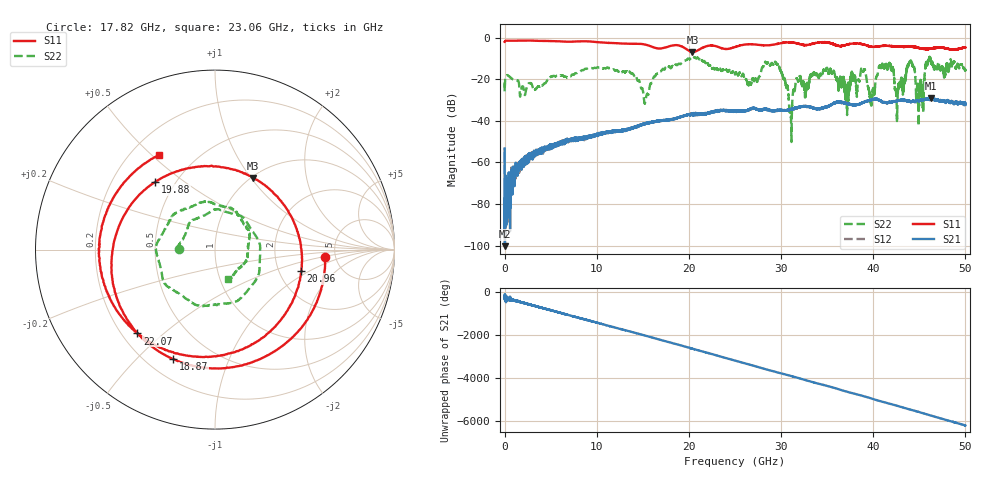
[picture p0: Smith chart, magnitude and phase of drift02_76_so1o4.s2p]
!Created with skrf (http://scikit-rf.org).
# Hz S RI R 50.0
!freq ReS11 ImS11 ReS21 ImS21 ReS12 ImS12 ReS22 ImS22
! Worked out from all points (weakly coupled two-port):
!   10001 points, 300 kHz to 50 GHz, reference 50 ohm
!   highest |S21| = -29.03 dB at 46.23 GHz (marker M1); lowest = -100.2 dB at 35.3 MHz (marker M2)
!   lowest |S11| = -6.9 dB at 20.38 GHz (marker M3), VSWR 2.64, Z = 51 + j51 ohm
!   |S11| at or under -10 dB: nowhere
!   |S22| runs from -50.2 to -9.2 dB; largest |S21 - S12| = 0.0033
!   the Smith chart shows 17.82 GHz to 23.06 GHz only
!   S11 on the Smith chart (normalised r, x): 17.82 GHz: 4.14, -0.52; 18.87 GHz: 0.30, -0.65; 19.88 GHz: 0.39, +0.39; 20.96 GHz: 2.66, -0.83; 22.07 GHz: 0.26, -0.41; 23.06 GHz: 0.31, +0.53
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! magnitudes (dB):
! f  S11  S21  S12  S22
! 300 kHz  -2.1  -53.2  -55.4  -21.6
! 35.3 MHz  -1.8  -100.2  -72.1  -22.0
! 8.335 GHz  -1.7  -48.7  -48.3  -15.8
! 15.33 GHz  -3.4  -41.4  -41.2  -29.3
! 16.67 GHz  -5.2  -40.1  -40.2  -17.0
! 17.82 GHz  -4.2  -39.7  -39.2  -13.9
! 18.87 GHz  -3.7  -38.4  -38.5  -12.6
! 19.88 GHz  -6.0  -37.1  -37.1  -10.2
! 20.38 GHz  -6.9  -36.8  -36.8  -10.0
! 20.96 GHz  -6.1  -36.9  -36.7  -9.6
! 22.07 GHz  -3.9  -36.5  -36.3  -12.6
! 23.06 GHz  -4.3  -35.0  -35.3  -14.9
! 25 GHz  -4.5  -35.3  -35.5  -17.7
! 29.51 GHz  -3.1  -35.0  -35.2  -12.6
! 31.04 GHz  -2.3  -34.3  -34.6  -34.4
! 33.34 GHz  -3.0  -33.5  -33.6  -18.1
! 38.91 GHz  -3.2  -31.1  -31.2  -16.2
! 39.86 GHz  -4.4  -29.7  -29.8  -29.4
! 41.67 GHz  -4.0  -31.1  -31.1  -13.3
! 45.15 GHz  -5.1  -30.0  -30.0  -23.4
! 46.23 GHz  -5.3  -29.0  -29.1  -10.8
! 50 GHz  -4.7  -32.3  -32.2  -16.0
